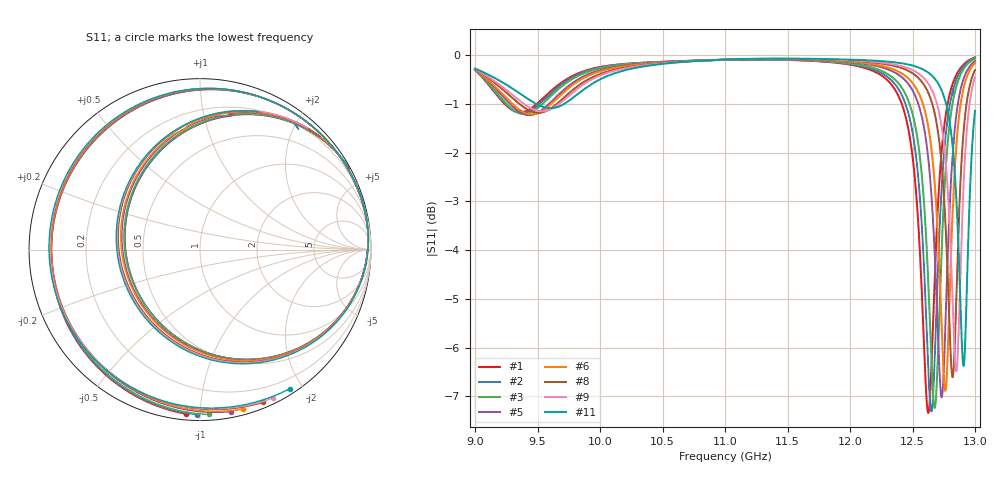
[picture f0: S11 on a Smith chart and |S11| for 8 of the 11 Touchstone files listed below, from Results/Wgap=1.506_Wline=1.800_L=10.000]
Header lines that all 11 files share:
! TOUCHSTONE file generated by CST DESIGN STUDIO
! Project name: C:\Work\MatlabApps\UnitCellOptimizationMatlab\CST\unitcell.cst
! Tree item: Tasks\Sweep1\SPara1\S-Parameters
! Header version: 2024
! Port assignment regex: !\s*Touchstone port\s*([0-9]+)\s*=\s*(CST MWS port|CST DES external port|CST DES block port)\s*(.+)\s* \(\"(.*)\"\)(\s*mode\s*([0-9]+))?.*
! Touchstone port assignment:
! Touchstone port 1 = CST DES external port 1 ("")
# GHz S MA R 50
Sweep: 9 GHz to 13 GHz
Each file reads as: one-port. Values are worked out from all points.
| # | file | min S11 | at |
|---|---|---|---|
| 1 | DS_for_MWS-run-0001.s1p | -7.3 dB | 12.63 GHz |
| 2 | DS_for_MWS-run-0002.s1p | -7.3 dB | 12.65 GHz |
| 3 | DS_for_MWS-run-0003.s1p | -7.2 dB | 12.68 GHz |
| 4 | DS_for_MWS-run-0004.s1p | -7.1 dB | 12.71 GHz |
| 5 | DS_for_MWS-run-0005.s1p | -7.0 dB | 12.73 GHz |
| 6 | DS_for_MWS-run-0006.s1p | -6.9 dB | 12.76 GHz |
| 7 | DS_for_MWS-run-0007.s1p | -6.7 dB | 12.79 GHz |
| 8 | DS_for_MWS-run-0008.s1p | -6.6 dB | 12.82 GHz |
| 9 | DS_for_MWS-run-0009.s1p | -6.5 dB | 12.85 GHz |
| 10 | DS_for_MWS-run-0010.s1p | -6.4 dB | 12.88 GHz |
| 11 | DS_for_MWS-run-0011.s1p | -6.4 dB | 12.91 GHz |
